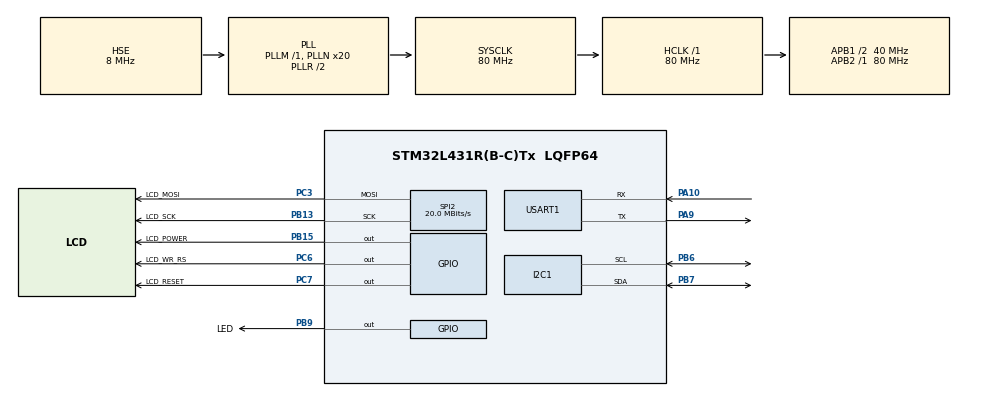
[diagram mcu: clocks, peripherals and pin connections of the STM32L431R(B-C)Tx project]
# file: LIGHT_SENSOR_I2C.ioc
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I2C1.Timing=0x00909BEB
Mcu.Family=STM32L4
Mcu.Name=STM32L431R(B-C)Tx
Mcu.Package=LQFP64
NVIC.PriorityGroup=NVIC_PRIORITYGROUP_4
PA10.Mode=Asynchronous
PA10.Signal=USART1_RX
PA13\ (JTMS-SWDIO).Mode=Serial_Wire
PA13\ (JTMS-SWDIO).Signal=SYS_JTMS-SWDIO
PA14\ (JTCK-SWCLK).Mode=Serial_Wire
PA14\ (JTCK-SWCLK).Signal=SYS_JTCK-SWCLK
PA9.Mode=Asynchronous
PA9.Signal=USART1_TX
PB13.GPIO_Label=LCD_SCK
PB13.Mode=TX_Only_Simplex_Unidirect_Master
PB13.Signal=SPI2_SCK
PB15.GPIO_Label=LCD_POWER
PB15.GPIO_Speed=GPIO_SPEED_FREQ_VERY_HIGH
PB15.PinState=GPIO_PIN_SET
PB15.Signal=GPIO_Output
PB6.Mode=I2C
PB6.Signal=I2C1_SCL
PB7.Mode=I2C
PB7.Signal=I2C1_SDA
PB9.GPIO_Label=LED
PB9.GPIO_Speed=GPIO_SPEED_FREQ_VERY_HIGH
PB9.Signal=GPIO_Output
PC3.GPIO_Label=LCD_MOSI
PC3.Mode=TX_Only_Simplex_Unidirect_Master
PC3.Signal=SPI2_MOSI
PC6.GPIO_Label=LCD_WR_RS
PC6.GPIO_Speed=GPIO_SPEED_FREQ_VERY_HIGH
PC6.Signal=GPIO_Output
PC7.GPIO_Label=LCD_RESET
PC7.GPIO_Speed=GPIO_SPEED_FREQ_VERY_HIGH
PC7.PinState=GPIO_PIN_RESET
PC7.Signal=GPIO_Output
PH0-OSC_IN\ (PH0).Mode=HSE-External-Oscillator
PH0-OSC_IN\ (PH0).Signal=RCC_OSC_IN
PH1-OSC_OUT\ (PH1).Mode=HSE-External-Oscillator
PH1-OSC_OUT\ (PH1).Signal=RCC_OSC_OUT
ProjectManager.HeapSize=0x1000
ProjectManager.StackSize=0x400
ProjectManager.TargetToolchain=MDK-ARM V5
RCC.ADCFreq_Value=32000000
RCC.AHBFreq_Value=80000000
RCC.APB1CLKDivider=RCC_HCLK_DIV2
RCC.APB1Freq_Value=40000000
RCC.APB1TimFreq_Value=80000000
RCC.APB2Freq_Value=80000000
RCC.APB2TimFreq_Value=80000000
RCC.CortexFreq_Value=80000000
RCC.HCLKFreq_Value=80000000
RCC.HSE_VALUE=8000000
RCC.HSI48_VALUE=48000000
RCC.HSI_VALUE=16000000
RCC.LSE_VALUE=32768
RCC.MSI_VALUE=4000000
RCC.PLLN=20
RCC.PLLSourceVirtual=RCC_PLLSOURCE_HSE
RCC.SYSCLKFreq_VALUE=80000000
RCC.SYSCLKSource=RCC_SYSCLKSOURCE_PLLCLK
RCC.VCOOutputFreq_Value=160000000
SPI2.BaudRatePrescaler=SPI_BAUDRATEPRESCALER_2
SPI2.CLKPhase=SPI_PHASE_2EDGE
SPI2.CLKPolarity=SPI_POLARITY_HIGH
SPI2.CalculateBaudRate=20.0 MBits/s
SPI2.DataSize=SPI_DATASIZE_8BIT
SPI2.Direction=SPI_DIRECTION_2LINES
SPI2.Mode=SPI_MODE_MASTER
SPI2.VirtualType=VM_MASTER
USART1.VirtualMode-Asynchronous=VM_ASYNC
board=custom

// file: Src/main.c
/* USER CODE BEGIN Header */
/**
  ******************************************************************************
  * @file           : main.c
  * @brief          : Main program body
  ******************************************************************************
  * @attention
  *
  * <h2><center>&copy; Copyright (c) 2020 STMicroelectronics.
  * All rights reserved.</center></h2>
  *
  * This software component is licensed by ST under BSD 3-Clause license,
  * the "License"; You may not use this file except in compliance with the
  * License. You may obtain a copy of the License at:
  *                        opensource.org/licenses/BSD-3-Clause
  *
  ******************************************************************************
  */
/* USER CODE END Header */

#include "main.h"
#include "i2c.h"
#include "spi.h"
#include "usart.h"
#include "gpio.h"

/* USER CODE BEGIN Includes */
#include "lcd.h"
#include "HzLib.h"
/* USER CODE END Includes */

void SystemClock_Config(void);
/* USER CODE BEGIN PFP */
void delay_ms(int ms)
{
	HAL_Delay(ms);
}
/* USER CODE END PFP */

/* USER CODE BEGIN 0 */
//Transfer GuiLite 32 bits color to your LCD color
#define GL_RGB_32_to_16(rgb) (((((unsigned int)(rgb)) & 0xFF) >> 3) | ((((unsigned int)(rgb)) & 0xFC00) >> 5) | ((((unsigned int)(rgb)) & 0xF80000) >> 8))
//Encapsulate your LCD driver:
void gfx_draw_pixel(int x, int y, unsigned int rgb)
{
	LCD_Draw_Point_Color(x, y, GL_RGB_32_to_16(rgb));
}
//Implement it, if you have more fast solution than drawing pixels one by one.
//void gfx_fill_rect(int x0, int y0, int x1, int y1, unsigned int rgb){}

//UI entry
struct EXTERNAL_GFX_OP
{
	void (*draw_pixel)(int x, int y, unsigned int rgb);
	void (*fill_rect)(int x0, int y0, int x1, int y1, unsigned int rgb);
} my_gfx_op;
extern void startHelloCircle(void* phy_fb, int width, int height, int color_bytes, struct EXTERNAL_GFX_OP* gfx_op);

/* USER CODE END 0 */

int main(void)
{

  /* MCU Configuration--------------------------------------------------------*/

  /* Reset of all peripherals, Initializes the Flash interface and the Systick. */
  HAL_Init();

  /* Configure the system clock */
  SystemClock_Config();

  /* Initialize all configured peripherals */
  MX_GPIO_Init();
  MX_I2C1_Init();
  MX_USART1_UART_Init();
  MX_SPI2_Init();
  /* USER CODE BEGIN 2 */
    LCD_Init();
    LCD_Clear(BLACK);//����Ϊ��ɫ
	my_gfx_op.draw_pixel = gfx_draw_pixel;
	my_gfx_op.fill_rect = NULL;//gfx_fill_rect;
	startHelloCircle(NULL, 240, 240, 2, &my_gfx_op);
  /* USER CODE END 2 */

  /* Infinite loop */
    while (1)
    {

    }
}

void SystemClock_Config(void)
{
  RCC_OscInitTypeDef RCC_OscInitStruct = {0};
  RCC_ClkInitTypeDef RCC_ClkInitStruct = {0};
  RCC_PeriphCLKInitTypeDef PeriphClkInit = {0};

  /** Initializes the CPU, AHB and APB busses clocks
  */
  RCC_OscInitStruct.OscillatorType = RCC_OSCILLATORTYPE_HSE;
  RCC_OscInitStruct.HSEState = RCC_HSE_ON;
  RCC_OscInitStruct.PLL.PLLState = RCC_PLL_ON;
  RCC_OscInitStruct.PLL.PLLSource = RCC_PLLSOURCE_HSE;
  RCC_OscInitStruct.PLL.PLLM = 1;
  RCC_OscInitStruct.PLL.PLLN = 20;
  RCC_OscInitStruct.PLL.PLLP = RCC_PLLP_DIV7;
  RCC_OscInitStruct.PLL.PLLQ = RCC_PLLQ_DIV2;
  RCC_OscInitStruct.PLL.PLLR = RCC_PLLR_DIV2;
  if (HAL_RCC_OscConfig(&RCC_OscInitStruct) != HAL_OK)
  {
    Error_Handler();
  }
  /** Initializes the CPU, AHB and APB busses clocks
  */
  RCC_ClkInitStruct.ClockType = RCC_CLOCKTYPE_HCLK|RCC_CLOCKTYPE_SYSCLK
                              |RCC_CLOCKTYPE_PCLK1|RCC_CLOCKTYPE_PCLK2;
  RCC_ClkInitStruct.SYSCLKSource = RCC_SYSCLKSOURCE_PLLCLK;
  RCC_ClkInitStruct.AHBCLKDivider = RCC_SYSCLK_DIV1;
  RCC_ClkInitStruct.APB1CLKDivider = RCC_HCLK_DIV2;
  RCC_ClkInitStruct.APB2CLKDivider = RCC_HCLK_DIV1;

  if (HAL_RCC_ClockConfig(&RCC_ClkInitStruct, FLASH_LATENCY_4) != HAL_OK)
  {
    Error_Handler();
  }
  PeriphClkInit.PeriphClockSelection = RCC_PERIPHCLK_USART1|RCC_PERIPHCLK_I2C1;
  PeriphClkInit.Usart1ClockSelection = RCC_USART1CLKSOURCE_PCLK2;
  PeriphClkInit.I2c1ClockSelection = RCC_I2C1CLKSOURCE_PCLK1;
  if (HAL_RCCEx_PeriphCLKConfig(&PeriphClkInit) != HAL_OK)
  {
    Error_Handler();
  }
  /** Configure the main internal regulator output voltage
  */
  if (HAL_PWREx_ControlVoltageScaling(PWR_REGULATOR_VOLTAGE_SCALE1) != HAL_OK)
  {
    Error_Handler();
  }
}

void Error_Handler(void)
{
}

/************************ (C) COPYRIGHT STMicroelectronics *****END OF FILE****/
